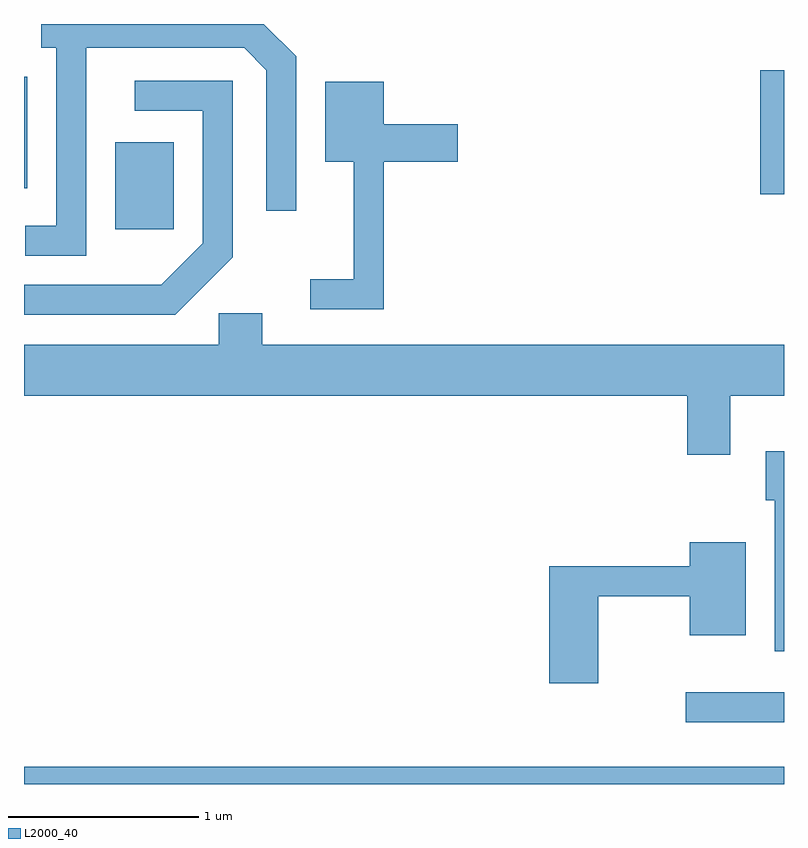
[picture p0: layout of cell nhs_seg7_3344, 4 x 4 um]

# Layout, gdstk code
import gdstk
lib = gdstk.Library(unit=1e-6, precision=1e-09)
def R(c, l, rs):  # rectangles x0, y0, x1, y1
    for r in rs: c.add(gdstk.rectangle(r[:2], r[2:], *l))
def P(c, l, *ps):  # polygons
    for p in ps: c.add(gdstk.Polygon(p, *l))
L2000_40 = (2000, 40)

nhs_seg7_3344 = lib.new_cell('nhs_seg7_3344')
R(nhs_seg7_3344, L2000_40, [(287.611,1732.252,291.611,1732.344), (291.093,1732.576,291.611,1732.734), (288.091,1735.171,288.399,1735.629), (291.486,1735.356,291.611,1736.009), (287.611,1735.388,287.629,1735.974)])
P(nhs_seg7_3344, L2000_40, [(287.939,1736.126),(288.769,1736.126),(288.886,1736.009),(288.886,1735.268),(289.044,1735.268),(289.044,1736.082),(288.874,1736.252),(287.703,1736.252),(287.703,1736.126),(287.781,1736.126),(287.781,1735.189),(287.618,1735.189),(287.618,1735.031),(287.939,1735.031)],
  [(288.709,1735.024),(288.709,1735.954),(288.193,1735.954),(288.193,1735.796),(288.551,1735.796),(288.551,1735.097),(288.334,1734.879),(287.611,1734.879),(287.611,1734.721),(288.407,1734.721)],
  [(289.504,1735.526),(289.894,1735.526),(289.894,1735.724),(289.504,1735.724),(289.504,1735.949),(289.196,1735.949),(289.196,1735.526),(289.346,1735.526),(289.346,1734.909),(289.118,1734.909),(289.118,1734.751),(289.504,1734.751)],
  [(291.329,1734.296),(291.611,1734.296),(291.611,1734.564),(288.864,1734.564),(288.864,1734.729),(288.636,1734.729),(288.636,1734.564),(287.611,1734.564),(287.611,1734.296),(291.101,1734.296),(291.101,1733.986),(291.329,1733.986)],
  [(291.611,1734.004),(291.516,1734.004),(291.516,1733.746),(291.561,1733.746),(291.561,1732.951),(291.611,1732.951)],
  [(290.634,1733.241),(291.116,1733.241),(291.116,1733.036),(291.409,1733.036),(291.409,1733.524),(291.116,1733.524),(291.116,1733.399),(290.376,1733.399),(290.376,1732.781),(290.634,1732.781)])

lib.write_gds('nhs_seg7_3344.gds')
